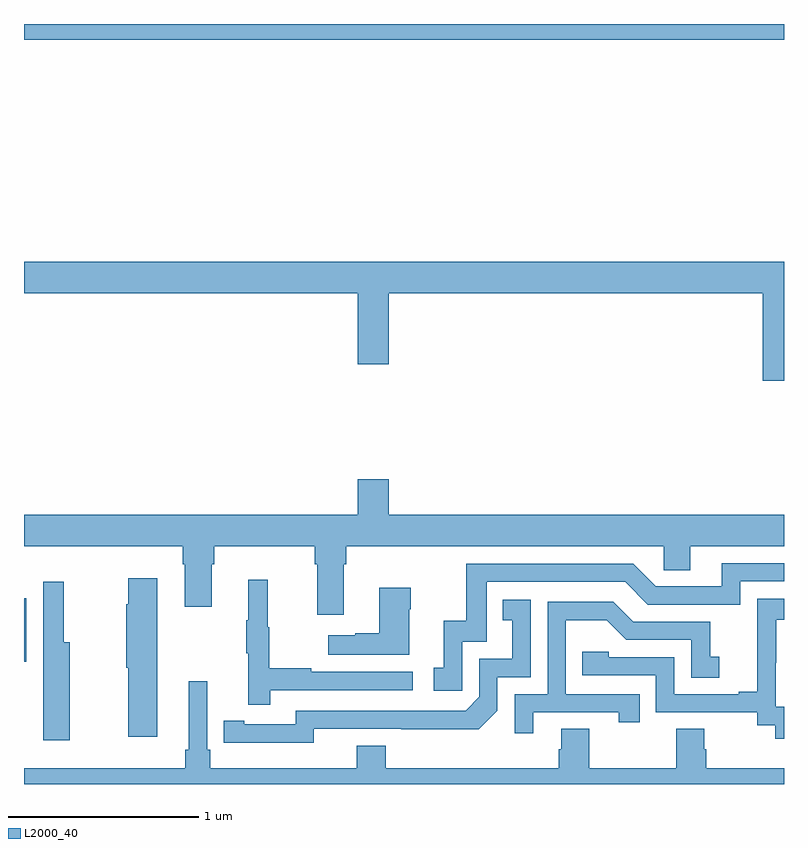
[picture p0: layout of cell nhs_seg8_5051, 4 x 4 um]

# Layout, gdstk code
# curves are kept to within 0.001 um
import gdstk
lib = gdstk.Library(unit=1e-6, precision=1e-09)
def R(c, l, rs):  # rectangles x0, y0, x1, y1
    for r in rs: c.add(gdstk.rectangle(r[:2], r[2:], *l))
def P(c, l, *ps):  # polygons
    for p in ps: c.add(gdstk.Polygon(p, *l))
L2000_40 = (2000, 40)

nhs_seg8_5051 = lib.new_cell('nhs_seg8_5051')
R(nhs_seg8_5051, L2000_40, [(415,1130.544,415.011,1130.878), (415,1133.816,419,1133.9)])
P(nhs_seg8_5051, L2000_40, [(419,1132.648),(415,1132.648),(415,1132.484),(416.756,1132.484),(416.756,1132.11),(416.92,1132.11),(416.92,1132.484),(418.889,1132.484),(418.889,1132.023),(419,1132.023)],
  [(416.683,1131.056),(416.696,1131.056),(416.696,1131.152),(418.368,1131.152),(418.368,1131.025),(418.507,1131.025),(418.507,1131.152),(419,1131.152),(419,1131.316),(416.92,1131.316),(416.92,1131.505),(416.756,1131.505),(416.756,1131.316),(415,1131.316),(415,1131.152),(415.835,1131.152),(415.835,1131.056),(415.847,1131.056),(415.847,1130.832),(415.987,1130.832),(415.987,1131.056),(416,1131.056),(416,1131.152),(416.531,1131.152),(416.531,1131.056),(416.543,1131.056),(416.543,1130.79),(416.683,1130.79)],
  [(417.306,1130.649),(417.435,1130.649),(417.435,1130.964),(418.164,1130.964),(418.284,1130.844),(418.77,1130.844),(418.77,1130.967),(419,1130.967),(419,1131.063),(418.673,1131.063),(418.673,1130.94),(418.326,1130.94),(418.206,1131.06),(417.327,1131.06),(417.327,1130.758),(417.209,1130.758),(417.209,1130.511),(417.156,1130.511),(417.156,1130.391),(417.306,1130.391)],
  [(415.702,1130.983),(415.549,1130.983),(415.549,1130.847),(415.538,1130.847),(415.538,1130.511),(415.549,1130.511),(415.549,1130.148),(415.702,1130.148)],
  [(416.297,1130.394),(417.046,1130.394),(417.046,1130.49),(416.513,1130.49),(416.513,1130.51),(416.29,1130.51),(416.29,1130.724),(416.282,1130.724),(416.282,1130.974),(416.18,1130.974),(416.18,1130.761),(416.169,1130.761),(416.169,1130.587),(416.18,1130.587),(416.18,1130.316),(416.297,1130.316)],
  [(415.242,1130.647),(415.21,1130.647),(415.21,1130.965),(415.101,1130.965),(415.101,1130.543),(415.1,1130.543),(415.1,1130.13),(415.242,1130.13)],
  [(417.028,1130.819),(417.036,1130.819),(417.036,1130.932),(416.87,1130.932),(416.87,1130.693),(416.744,1130.693),(416.744,1130.683),(416.601,1130.683),(416.601,1130.579),(417.028,1130.579)],
  [(419,1130.307),(418.956,1130.307),(418.956,1130.537),(418.958,1130.537),(418.958,1130.765),(419,1130.765),(419,1130.875),(418.858,1130.875),(418.858,1130.669),(418.859,1130.669),(418.859,1130.386),(418.763,1130.386),(418.763,1130.373),(418.422,1130.373),(418.422,1130.568),(418.077,1130.568),(418.077,1130.595),(417.937,1130.595),(417.937,1130.472),(418.326,1130.472),(418.326,1130.277),(418.86,1130.277),(418.86,1130.209),(418.953,1130.209),(418.953,1130.139),(419,1130.139)],
  [(416.526,1130.19),(417.394,1130.189),(417.492,1130.286),(417.492,1130.463),(417.666,1130.463),(417.666,1130.869),(417.52,1130.869),(417.52,1130.763),(417.569,1130.763),(417.569,1130.559),(417.396,1130.559),(417.396,1130.358),(417.324,1130.286),(416.43,1130.286),(416.43,1130.214),(416.158,1130.214),(416.158,1130.234),(416.05,1130.234),(416.05,1130.118),(416.526,1130.117)],
  [(417.679,1130.277),(418.13,1130.277),(418.13,1130.226),(418.241,1130.226),(418.241,1130.373),(417.852,1130.373),(417.852,1130.762),(418.066,1130.762),(418.17,1130.658),(418.512,1130.658),(418.512,1130.46),(418.66,1130.46),(418.66,1130.569),(418.611,1130.569),(418.611,1130.754),(418.207,1130.754),(418.102,1130.859),(417.756,1130.859),(417.756,1130.373),(417.582,1130.373),(417.582,1130.166),(417.679,1130.166)],
  [(419,1129.984),(418.592,1129.984),(418.592,1130.082),(418.579,1130.082),(418.579,1130.192),(418.432,1130.192),(418.432,1129.984),(417.975,1129.984),(417.975,1130.192),(417.827,1130.192),(417.827,1130.082),(417.815,1130.082),(417.815,1129.984),(416.903,1129.984),(416.903,1130.101),(416.75,1130.101),(416.75,1129.984),(415.979,1129.984),(415.979,1130.08),(415.965,1130.08),(415.965,1130.44),(415.868,1130.44),(415.868,1130.08),(415.849,1130.08),(415.849,1129.984),(415,1129.984),(415,1129.9),(419,1129.9)])

lib.write_gds('nhs_seg8_5051.gds')
